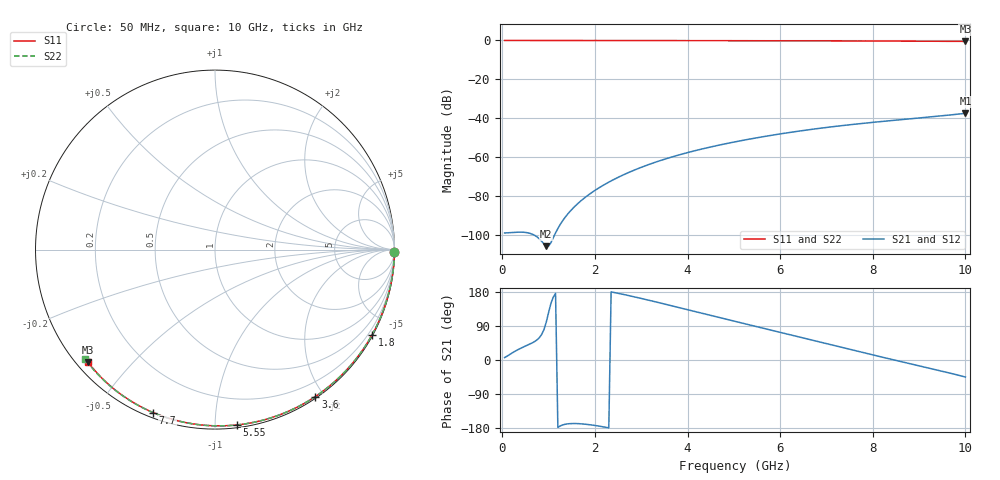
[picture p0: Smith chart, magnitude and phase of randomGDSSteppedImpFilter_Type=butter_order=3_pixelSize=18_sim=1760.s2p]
! freq	dB(S11)	phase(S11)	dB(S12)	phase(S12)
!  dB(S21)	phase(S21)	dB(S22)	phase(S22)
!S-par simulation data
#  GHz  S  DB  R 50
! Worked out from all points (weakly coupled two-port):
!   200 points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, 50 MHz to 10 GHz, reference 50 ohm
!   highest |S21| = -37.56 dB at 10 GHz (marker M1); lowest = -106.0 dB at 950 MHz (marker M2)
!   lowest |S11| = -0.5 dB at 10 GHz (marker M3), VSWR 35.52, Z = 1.61 - j18.9 ohm
!   |S11| at or under -10 dB: nowhere
!   |S22| runs from -0.5 to 0.0 dB; largest |S21 - S12| = 0
!   S11 on the Smith chart (normalised r, x): 50 MHz: open; 1.8 GHz: 0.03, -3.94; 3.6 GHz: 0.02, -1.89; 5.55 GHz: 0.02, -1.13; 7.7 GHz: 0.02, -0.69; 10 GHz: 0.03, -0.38
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0.05  -0.00 -0.8  -99.16 6.4  -99.16 6.4  -0.00 -0.8
0.5  -0.01 -8.0  -98.88 36.8  -98.88 36.8  -0.01 -8.1
0.95  -0.02 -15.2  -105.96 100.0  -105.96 100.0  -0.02 -15.3
1.75  -0.04 -27.7  -81.57 -168.9  -81.57 -168.9  -0.04 -28.0
1.8  -0.04 -28.5  -80.63 -169.5  -80.63 -169.5  -0.04 -28.8
1.85  -0.04 -29.3  -79.73 -170.2  -79.73 -170.2  -0.04 -29.6
2.15  -0.04 -33.9  -75.00 -175.7  -75.00 -175.7  -0.04 -34.3
2.35  -0.05 -37.0  -72.32 179.8  -72.32 179.8  -0.05 -37.3
2.55  -0.05 -40.0  -69.93 174.8  -69.93 174.8  -0.05 -40.4
2.95  -0.06 -46.0  -65.81 163.9  -65.81 163.9  -0.06 -46.5
3.4  -0.07 -52.7  -61.96 150.8  -61.96 150.8  -0.07 -53.2
3.6  -0.08 -55.7  -60.45 144.8  -60.45 144.8  -0.08 -56.2
3.9  -0.08 -60.0  -58.40 135.8  -58.40 135.8  -0.08 -60.6
4.3  -0.09 -65.7  -55.96 123.7  -55.96 123.7  -0.09 -66.4
5.05  -0.12 -76.2  -52.10 101.2  -52.10 101.2  -0.12 -76.9
5.55  -0.14 -83.0  -49.91 86.3  -49.91 86.3  -0.14 -83.8
6.1  -0.16 -90.3  -47.76 69.9  -47.76 69.9  -0.16 -91.1
6.7  -0.19 -98.1  -45.72 51.9  -45.72 51.9  -0.19 -99.0
7.7  -0.25 -110.8  -42.91 22.1  -42.91 22.1  -0.26 -111.7
8.35  -0.31 -118.8  -41.38 3.3  -41.38 3.3  -0.31 -119.8
9.2  -0.39 -129.1  -39.47 -20.8  -39.47 -20.8  -0.39 -130.2
10  -0.49 -138.6  -37.56 -44.9  -37.56 -44.9  -0.47 -139.9
